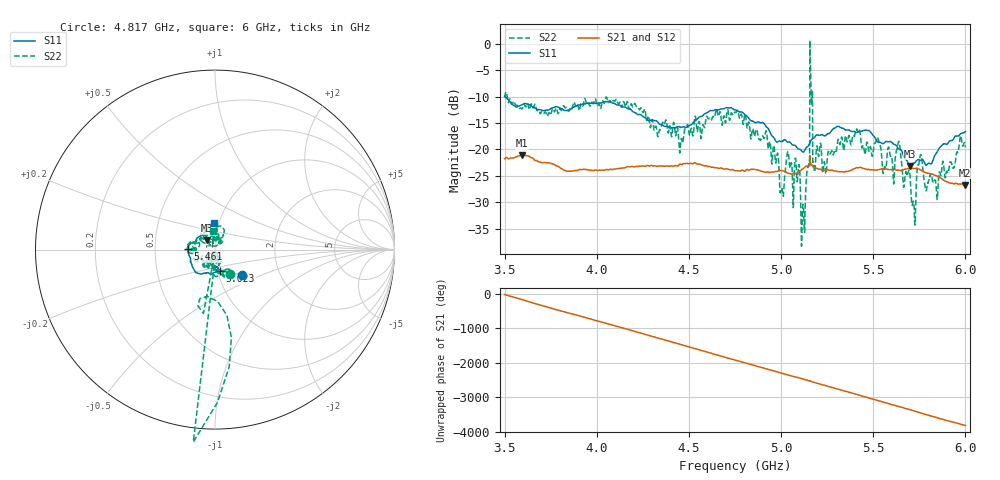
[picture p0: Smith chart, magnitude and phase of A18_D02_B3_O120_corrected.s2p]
! Created with skrf 1.9.0 (http://scikit-rf.org).
# Hz S RI R 50.0
!freq ReS11 ImS11 ReS21 ImS21 ReS12 ImS12 ReS22 ImS22
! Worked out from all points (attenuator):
!   1601 points, 3.5 GHz to 6 GHz, reference 50 ohm
!   highest |S21| = -21.09 dB at 3.592 GHz (marker M1); lowest = -26.7 dB at 5.997 GHz (marker M2)
!   lowest |S11| = -23.1 dB at 5.698 GHz (marker M3), VSWR 1.15, Z = 45.4 + j4.8 ohm
!   |S11| at or under -10 dB: 3.503 GHz to end of sweep
!   |S22| runs from -38.3 to 0.7 dB; largest |S21 - S12| = 0.0011
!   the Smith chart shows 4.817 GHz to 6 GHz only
!   S11 on the Smith chart (normalised r, x): 4.817 GHz: 1.28, -0.38; 5.023 GHz: 1.03, -0.25; 5.461 GHz: 0.74, +0.01; 6 GHz: 0.95, +0.29
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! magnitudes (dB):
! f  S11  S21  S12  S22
! 3.5 GHz  -9.9  -21.8  -21.8  -10.2
! 3.592 GHz  -11.6  -21.1  -21.1  -12.3
! 3.917 GHz  -11.5  -23.8  -23.8  -11.3
! 4.334 GHz  -15.0  -23.2  -23.1  -17.2
! 4.75 GHz  -12.5  -24.0  -24.0  -12.9
! 4.817 GHz  -13.7  -23.8  -23.8  -16.0
! 4.972 GHz  -18.5  -24.2  -24.1  -22.6
! 5.003 GHz  -18.5  -24.0  -24.0  -27.5
! 5.023 GHz  -18.2  -24.2  -24.2  -23.9
! 5.089 GHz  -19.8  -24.4  -24.4  -25.8
! 5.12 GHz  -20.5  -23.6  -23.6  -30.7
! 5.167 GHz  -18.1  -23.0  -22.9  -10.9
! 5.184 GHz  -17.6  -23.4  -23.4  -23.7
! 5.234 GHz  -17.4  -23.9  -23.9  -22.3
! 5.461 GHz  -16.3  -23.8  -23.7  -19.6
! 5.584 GHz  -18.6  -23.8  -23.8  -19.6
! 5.698 GHz  -23.1  -23.6  -23.6  -24.6
! 5.719 GHz  -22.6  -23.6  -23.5  -30.1
! 5.752 GHz  -22.1  -23.8  -23.7  -21.7
! 5.841 GHz  -20.8  -25.0  -24.9  -26.7
! 5.997 GHz  -16.7  -26.7  -26.7  -18.9
! 6 GHz  -16.6  -26.7  -26.7  -19.6
